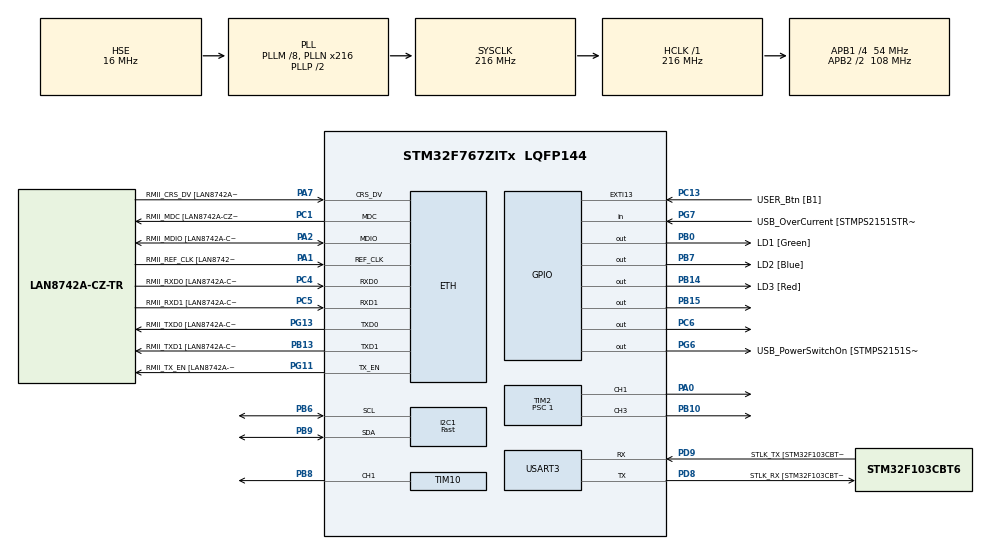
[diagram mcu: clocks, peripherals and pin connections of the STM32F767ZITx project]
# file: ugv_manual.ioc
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CORTEX_M7.AccessPermission-Cortex_Memory_Protection_Unit_Region0_Settings=MPU_REGION_FULL_ACCESS
CORTEX_M7.BaseAddress-Cortex_Memory_Protection_Unit_Region0_Settings=0x2007c000
CORTEX_M7.CPU_DCache=Enabled
CORTEX_M7.CPU_ICache=Enabled
CORTEX_M7.DisableExec-Cortex_Memory_Protection_Unit_Region0_Settings=MPU_INSTRUCTION_ACCESS_DISABLE
CORTEX_M7.Enable-Cortex_Memory_Protection_Unit_Region0_Settings=MPU_REGION_ENABLE
CORTEX_M7.IsShareable-Cortex_Memory_Protection_Unit_Region0_Settings=MPU_ACCESS_SHAREABLE
CORTEX_M7.MPU_Control=MPU_PRIVILEGED_DEFAULT
CORTEX_M7.PREFETCH_ENABLE=1
CORTEX_M7.Size-Cortex_Memory_Protection_Unit_Region0_Settings=MPU_REGION_SIZE_16KB
CORTEX_M7.TypeExtField-Cortex_Memory_Protection_Unit_Region0_Settings=MPU_TEX_LEVEL1
ETH.MACAddr=00\:80\:E1\:00\:00\:20
ETH.MediaInterface=HAL_ETH_RMII_MODE
I2C1.I2C_Speed_Mode=I2C_Fast
I2C1.Timing=0x6000030D
LWIP.BSP.number=1
LWIP.GATEWAY_ADDRESS=192.168.020.001
LWIP.IP_ADDRESS=192.168.020.021
LWIP.LWIP_DHCP=0
LWIP.MEM_SIZE=10*1024
LWIP.NETMASK_ADDRESS=255.255.255.000
LWIP.Version=v2.1.2_Cube
LWIP0.BSP.STBoard=false
LWIP0.BSP.api=BSP_COMPONENT_DRIVER
LWIP0.BSP.component=LAN8742
LWIP0.BSP.instance=LAN8742
LWIP0.BSP.name=Driver_PHY
LWIP0.BSP.semaphore=S_LAN8742
LWIP0.BSP.solution=LAN8742
Mcu.Family=STM32F7
Mcu.Name=STM32F767ZITx
Mcu.Package=LQFP144
NVIC.ETH_IRQn=true\:0\:0\:false\:false\:true\:true\:true\:true
NVIC.I2C1_ER_IRQn=true\:0\:0\:false\:false\:true\:true\:true\:true
NVIC.I2C1_EV_IRQn=true\:0\:0\:false\:false\:true\:true\:true\:true
NVIC.PriorityGroup=NVIC_PRIORITYGROUP_4
NVIC.TIM1_BRK_TIM9_IRQn=true\:0\:0\:false\:false\:true\:true\:true\:true
NVIC.TIM1_UP_TIM10_IRQn=true\:0\:0\:false\:false\:true\:true\:true\:true
NVIC.TIM8_UP_TIM13_IRQn=true\:0\:0\:false\:false\:true\:true\:true\:true
PA0/WKUP.Signal=S_TIM2_CH1_ETR
PA1.GPIO_Label=RMII_REF_CLK [LAN8742A-CZ-TR_REFCLK0]
PA1.Mode=RMII
PA1.Signal=ETH_REF_CLK
PA10.GPIO_Label=USB_ID
PA10.Signal=USB_OTG_FS_ID
PA11.GPIO_Label=USB_DM
PA11.Signal=USB_OTG_FS_DM
PA12.GPIO_Label=USB_DP
PA12.Signal=USB_OTG_FS_DP
PA13.GPIO_Label=TMS
PA13.Signal=SYS_JTMS-SWDIO
PA14.GPIO_Label=TCK
PA14.Signal=SYS_JTCK-SWCLK
PA2.GPIO_Label=RMII_MDIO [LAN8742A-CZ-TR_MDIO]
PA2.Mode=RMII
PA2.Signal=ETH_MDIO
PA7.GPIO_Label=RMII_CRS_DV [LAN8742A-CZ-TR_CRS_DV]
PA7.Mode=RMII
PA7.Signal=ETH_CRS_DV
PA8.GPIO_Label=USB_SOF [TP1]
PA8.Signal=USB_OTG_FS_SOF
PA9.GPIO_Label=USB_VBUS
PA9.Signal=USB_OTG_FS_VBUS
PB0.GPIO_Label=LD1 [Green]
PB0.Signal=GPIO_Output
PB10.Signal=S_TIM2_CH3
PB13.GPIO_Label=RMII_TXD1 [LAN8742A-CZ-TR_TXD1]
PB13.Mode=RMII
PB13.Signal=ETH_TXD1
PB14.GPIO_Label=LD3 [Red]
PB14.Signal=GPIO_Output
PB15.Signal=GPIO_Output
PB3.GPIO_Label=SW0
PB3.Signal=SYS_JTDO-SWO
PB6.GPIO_Pu=GPIO_PULLUP
PB6.Mode=I2C
PB6.Signal=I2C1_SCL
PB7.GPIO_Label=LD2 [Blue]
PB7.Signal=GPIO_Output
PB8.Signal=S_TIM10_CH1
PB9.GPIO_Pu=GPIO_PULLUP
PB9.Mode=I2C
PB9.Signal=I2C1_SDA
PC1.GPIO_Label=RMII_MDC [LAN8742A-CZ-TR_MDC]
PC1.Mode=RMII
PC1.Signal=ETH_MDC
PC13.GPIO_Label=USER_Btn [B1]
PC13.Signal=GPXTI13
PC14/OSC32_IN.Signal=RCC_OSC32_IN
PC15/OSC32_OUT.Signal=RCC_OSC32_OUT
PC4.GPIO_Label=RMII_RXD0 [LAN8742A-CZ-TR_RXD0]
PC4.Mode=RMII
PC4.Signal=ETH_RXD0
PC5.GPIO_Label=RMII_RXD1 [LAN8742A-CZ-TR_RXD1]
PC5.Mode=RMII
PC5.Signal=ETH_RXD1
PC6.Signal=GPIO_Output
PD8.GPIO_Label=STLK_RX [STM32F103CBT6_PA3]
PD8.Mode=Asynchronous
PD8.Signal=USART3_TX
PD9.GPIO_Label=STLK_TX [STM32F103CBT6_PA2]
PD9.Mode=Asynchronous
PD9.Signal=USART3_RX
PG11.GPIO_Label=RMII_TX_EN [LAN8742A-CZ-TR_TXEN]
PG11.Mode=RMII
PG11.Signal=ETH_TX_EN
PG13.GPIO_Label=RMII_TXD0 [LAN8742A-CZ-TR_TXD0]
PG13.Mode=RMII
PG13.Signal=ETH_TXD0
PG6.GPIO_Label=USB_PowerSwitchOn [STMPS2151STR_EN]
PG6.Signal=GPIO_Output
PG7.GPIO_Label=USB_OverCurrent [STMPS2151STR_FAULT]
PG7.Signal=GPIO_Input
PH0/OSC_IN.GPIO_Label=MCO [STM32F103CBT6_PA8]
PH0/OSC_IN.Mode=HSE-External-Oscillator
PH0/OSC_IN.Signal=RCC_OSC_IN
PH1/OSC_OUT.Mode=HSE-External-Oscillator
PH1/OSC_OUT.Signal=RCC_OSC_OUT
ProjectManager.HeapSize=0x200
ProjectManager.StackSize=0x400
ProjectManager.TargetToolchain=STM32CubeIDE
RCC.48MHZClocksFreq_Value=24000000
RCC.AHBFreq_Value=216000000
RCC.APB1CLKDivider=RCC_HCLK_DIV4
RCC.APB1Freq_Value=54000000
RCC.APB1TimFreq_Value=108000000
RCC.APB2CLKDivider=RCC_HCLK_DIV2
RCC.APB2Freq_Value=108000000
RCC.APB2TimFreq_Value=216000000
RCC.CortexFreq_Value=216000000
RCC.HCLKFreq_Value=216000000
RCC.HSE_VALUE=16000000
RCC.HSI_VALUE=16000000
RCC.LSE_VALUE=32768
RCC.PLLM=8
RCC.PLLMUL=RCC_PLL_MUL9
RCC.PLLN=216
RCC.PLLSourceVirtual=RCC_PLLSOURCE_HSE
RCC.PRESCALERUSB=RCC_USBCLKSOURCE_PLL_DIV1_5
RCC.SYSCLKFreq_VALUE=216000000
RCC.SYSCLKSource=RCC_SYSCLKSOURCE_PLLCLK
RCC.SYSCLKSourceVirtual=RCC_SYSCLKSOURCE_PLLCLK
RCC.USBFreq_Value=216000000
RCC.VCOOutputFreq_Value=432000000
SH.S_TIM10_CH1.0=TIM10_CH1,PWM Generation1 CH1
SH.S_TIM2_CH1_ETR.0=TIM2_CH1,PWM Generation1 CH1
SH.S_TIM2_CH3.0=TIM2_CH3,PWM Generation3 CH3
TIM1.Period=10000
TIM1.Prescaler=10800
TIM10.AutoReloadPreload=TIM_AUTORELOAD_PRELOAD_ENABLE
TIM10.Channel=TIM_CHANNEL_1
TIM10.Period=29999
TIM10.Prescaler=71
TIM13.Period=499
TIM13.Prescaler=2700
TIM2.Channel-PWM\ Generation1\ CH1=TIM_CHANNEL_1
TIM2.Channel-PWM\ Generation3\ CH3=TIM_CHANNEL_3
TIM2.Period=32767
TIM2.Prescaler=1
USART3.VirtualMode-Asynchronous=VM_ASYNC
VP_LWIP_VS_Enabled.Mode=Enabled
VP_TIM10_VS_ClockSourceINT.Mode=Enable_Timer
VP_TIM13_VS_ClockSourceINT.Mode=Enable_Timer
VP_TIM1_VS_ClockSourceINT.Mode=Internal
board=NUCLEO-F767ZI

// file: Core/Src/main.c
/* USER CODE BEGIN Header */
/**
  ******************************************************************************
  * @file           : main.c
  * @brief          : Main program body
  ******************************************************************************
  * @attention
  *
  * Copyright (c) 2024 STMicroelectronics.
  * All rights reserved.
  *
  * This software is licensed under terms that can be found in the LICENSE file
  * in the root directory of this software component.
  * If no LICENSE file comes with this software, it is provided AS-IS.
  *
  ******************************************************************************
  */
/* USER CODE END Header */
#include "main.h"
#include "lwip.h"

/* USER CODE BEGIN Includes */
#include "lwip/pbuf.h"
#include "lwip/udp.h"
#include "lwip/tcp.h"

#include "stdio.h"
#include "string.h"

#include "ugv_servo.h"  //Include header for servo driver
#include "motor_control.h" // Motor Control Header for 2023 Driver
#include "F7_I2C_Master.h"

/* USER CODE END Includes */

/* USER CODE BEGIN PD */
#define MAX_DUTY 32767

/* USER CODE END PD */

I2C_HandleTypeDef hi2c1;

TIM_HandleTypeDef htim1;
TIM_HandleTypeDef htim2;
TIM_HandleTypeDef htim10;
TIM_HandleTypeDef htim13;

UART_HandleTypeDef huart3;

/* USER CODE BEGIN PV */

F7_I2C_Master F7_i2c_master;

// instantiate steering servo struct
ugvServo_t steeringServo;
MotorControl ugv_drive_mtr;
// Variable to control steering angle
float steer_val = 0;
float velocity_val = 0;
float heading_error = 0;

// Temporary vars for Payload Arm Control
int8_t arm_cmds[5];

extern struct netif gnetif;
struct udp_pcb *upcb;
char buffer[100];
int counter;

/* USER CODE END PV */

void SystemClock_Config(void);
static void MPU_Config(void);
static void MX_GPIO_Init(void);
static void MX_TIM1_Init(void);
static void MX_TIM10_Init(void);
static void MX_USART3_UART_Init(void);
static void MX_TIM2_Init(void);
static void MX_TIM13_Init(void);
static void MX_I2C1_Init(void);
/* USER CODE BEGIN PFP */

void udp_receive_callback(void *arg, struct udp_pcb *upcb, struct pbuf *p,
		const ip_addr_t *addr, u16_t port);
static void udp_client_send();

void udp_client_connect();

void HAL_TIM_PeriodElapsedCallback(TIM_HandleTypeDef *htim);

/* USER CODE END PFP */

int main(void)
{

  /* MPU Configuration--------------------------------------------------------*/
  MPU_Config();
/* Enable the CPU Cache */

  /* Enable I-Cache---------------------------------------------------------*/
  SCB_EnableICache();

  /* Enable D-Cache---------------------------------------------------------*/
  SCB_EnableDCache();

  /* MCU Configuration--------------------------------------------------------*/

  /* Reset of all peripherals, Initializes the Flash interface and the Systick. */
  HAL_Init();

  /* Configure the system clock */
  SystemClock_Config();

  /* Initialize all configured peripherals */
  MX_GPIO_Init();
  MX_LWIP_Init();
  MX_TIM1_Init();
  MX_TIM10_Init();
  MX_USART3_UART_Init();
  MX_TIM2_Init();
  MX_TIM13_Init();
  MX_I2C1_Init();
  /* USER CODE BEGIN 2 */

  // 2022 Servo Driver
	steeringServo.timerInstance = &htim10;
	steeringServo.timerCCRX = &TIM10->CCR1;
	steeringServo.timerCh = TIM_CHANNEL_1;

	/* Last Year's Steering Servo */
	/*
	steeringServo.timerARR = 59999;
	steeringServo.minPulse = 500;
	steeringServo.maxPulse = 2500;
	steeringServo.timerPeriod = 20000;
	steeringServo.travelAngle = 270.0;
	steeringServo.minLimit = 10.0;
	steeringServo.maxLimit = 260.0;
	//	steeringServo.travelOffset = 125.0;
	//	steeringServo.travelOffset = 50;
	steeringServo.travelOffset = 10;
	*/

	// 2022 Servo Driver
	  steeringServo.timerInstance = &htim10;
	  steeringServo.timerCCRX = &TIM10->CCR1;
	  steeringServo.timerCh = TIM_CHANNEL_1;
	  steeringServo.timerARR = htim10.Init.Period;
	  steeringServo.minPulse = 500;
	  steeringServo.maxPulse = 2500;
	  steeringServo.timerPeriod = 20000;
	  steeringServo.travelAngle = 270.0;

	  steeringServo.minLimit = 0.0;
	  steeringServo.maxLimit = 105.0;

	  steeringServo.travelOffset = 50;

	ugv_servoInitServo(&steeringServo);
	MotorControl_Init(&ugv_drive_mtr, &htim2, TIM_CHANNEL_1, TIM_CHANNEL_3);
	ugv_init_F7_Master(&F7_i2c_master, &hi2c1, I2C_BUFF_SIZE, F3_SLAVE_ADDRESS, L4_SLAVE_ADDRESS);

  udp_client_connect();

  /* Start HAL timer interrupt
  /  Interrupt occurs once every 50ms
  */
  //COMMENTED OUT TIMER UPDATE
  HAL_TIM_Base_Start_IT(&htim13);

  /* USER CODE END 2 */

  /* Infinite loop */
  /* USER CODE BEGIN WHILE */
  while (1)
  {

	  ethernetif_input(&gnetif);
	  ethernet_link_check_state(&gnetif);
	  //udpClient
//	  gnetif.input()
	  //ethernet_input(p, netif)
	  sys_check_timeouts();

	HAL_GPIO_TogglePin(GPIOB, GPIO_PIN_14);
//	F7_i2c_master.buffSize = sprintf((char *)F7_i2c_master.TxBuffer, "%d, %d, %d", arm_cmds[0], arm_cmds[1], 0); //Temporarily hard-coding buffer size
//	HAL_I2C_Master_Transmit_IT(F7_i2c_master.I2C_Handle, (MASTER_W(F3_SLAVE_ADDRESS)), (uint8_t *)F7_i2c_master.TxBuffer, F7_i2c_master.buffSize);
    /* USER CODE END WHILE */

  }
}

void SystemClock_Config(void)
{
  RCC_OscInitTypeDef RCC_OscInitStruct = {0};
  RCC_ClkInitTypeDef RCC_ClkInitStruct = {0};

  /** Configure the main internal regulator output voltage
  */
  __HAL_RCC_PWR_CLK_ENABLE();
  __HAL_PWR_VOLTAGESCALING_CONFIG(PWR_REGULATOR_VOLTAGE_SCALE1);

  /** Initializes the RCC Oscillators according to the specified parameters
  * in the RCC_OscInitTypeDef structure.
  */
  RCC_OscInitStruct.OscillatorType = RCC_OSCILLATORTYPE_HSE;
  RCC_OscInitStruct.HSEState = RCC_HSE_ON;
  RCC_OscInitStruct.PLL.PLLState = RCC_PLL_ON;
  RCC_OscInitStruct.PLL.PLLSource = RCC_PLLSOURCE_HSE;
  RCC_OscInitStruct.PLL.PLLM = 8;
  RCC_OscInitStruct.PLL.PLLN = 216;
  RCC_OscInitStruct.PLL.PLLP = RCC_PLLP_DIV2;
  RCC_OscInitStruct.PLL.PLLQ = 2;
  RCC_OscInitStruct.PLL.PLLR = 2;
  if (HAL_RCC_OscConfig(&RCC_OscInitStruct) != HAL_OK)
  {
    Error_Handler();
  }

  /** Activate the Over-Drive mode
  */
  if (HAL_PWREx_EnableOverDrive() != HAL_OK)
  {
    Error_Handler();
  }

  /** Initializes the CPU, AHB and APB buses clocks
  */
  RCC_ClkInitStruct.ClockType = RCC_CLOCKTYPE_HCLK|RCC_CLOCKTYPE_SYSCLK
                              |RCC_CLOCKTYPE_PCLK1|RCC_CLOCKTYPE_PCLK2;
  RCC_ClkInitStruct.SYSCLKSource = RCC_SYSCLKSOURCE_PLLCLK;
  RCC_ClkInitStruct.AHBCLKDivider = RCC_SYSCLK_DIV1;
  RCC_ClkInitStruct.APB1CLKDivider = RCC_HCLK_DIV4;
  RCC_ClkInitStruct.APB2CLKDivider = RCC_HCLK_DIV2;

  if (HAL_RCC_ClockConfig(&RCC_ClkInitStruct, FLASH_LATENCY_7) != HAL_OK)
  {
    Error_Handler();
  }
}

static void MX_I2C1_Init(void)
{

  hi2c1.Instance = I2C1;
  hi2c1.Init.Timing = 0x6000030D;
  hi2c1.Init.OwnAddress1 = 0;
  hi2c1.Init.AddressingMode = I2C_ADDRESSINGMODE_7BIT;
  hi2c1.Init.DualAddressMode = I2C_DUALADDRESS_DISABLE;
  hi2c1.Init.OwnAddress2 = 0;
  hi2c1.Init.OwnAddress2Masks = I2C_OA2_NOMASK;
  hi2c1.Init.GeneralCallMode = I2C_GENERALCALL_DISABLE;
  hi2c1.Init.NoStretchMode = I2C_NOSTRETCH_DISABLE;
  if (HAL_I2C_Init(&hi2c1) != HAL_OK)
  {
    Error_Handler();
  }

  /** Configure Analogue filter
  */
  if (HAL_I2CEx_ConfigAnalogFilter(&hi2c1, I2C_ANALOGFILTER_ENABLE) != HAL_OK)
  {
    Error_Handler();
  }

  /** Configure Digital filter
  */
  if (HAL_I2CEx_ConfigDigitalFilter(&hi2c1, 0) != HAL_OK)
  {
    Error_Handler();
  }

}

static void MX_TIM1_Init(void)
{

  TIM_ClockConfigTypeDef sClockSourceConfig = {0};
  TIM_MasterConfigTypeDef sMasterConfig = {0};

  htim1.Instance = TIM1;
  htim1.Init.Prescaler = 10800;
  htim1.Init.CounterMode = TIM_COUNTERMODE_UP;
  htim1.Init.Period = 10000;
  htim1.Init.ClockDivision = TIM_CLOCKDIVISION_DIV1;
  htim1.Init.RepetitionCounter = 0;
  htim1.Init.AutoReloadPreload = TIM_AUTORELOAD_PRELOAD_DISABLE;
  if (HAL_TIM_Base_Init(&htim1) != HAL_OK)
  {
    Error_Handler();
  }
  sClockSourceConfig.ClockSource = TIM_CLOCKSOURCE_INTERNAL;
  if (HAL_TIM_ConfigClockSource(&htim1, &sClockSourceConfig) != HAL_OK)
  {
    Error_Handler();
  }
  sMasterConfig.MasterOutputTrigger = TIM_TRGO_RESET;
  sMasterConfig.MasterOutputTrigger2 = TIM_TRGO2_RESET;
  sMasterConfig.MasterSlaveMode = TIM_MASTERSLAVEMODE_DISABLE;
  if (HAL_TIMEx_MasterConfigSynchronization(&htim1, &sMasterConfig) != HAL_OK)
  {
    Error_Handler();
  }

}

static void MX_TIM2_Init(void)
{

  TIM_MasterConfigTypeDef sMasterConfig = {0};
  TIM_OC_InitTypeDef sConfigOC = {0};

  htim2.Instance = TIM2;
  htim2.Init.Prescaler = 1;
  htim2.Init.CounterMode = TIM_COUNTERMODE_UP;
  htim2.Init.Period = 32767;
  htim2.Init.ClockDivision = TIM_CLOCKDIVISION_DIV1;
  htim2.Init.AutoReloadPreload = TIM_AUTORELOAD_PRELOAD_DISABLE;
  if (HAL_TIM_PWM_Init(&htim2) != HAL_OK)
  {
    Error_Handler();
  }
  sMasterConfig.MasterOutputTrigger = TIM_TRGO_RESET;
  sMasterConfig.MasterSlaveMode = TIM_MASTERSLAVEMODE_DISABLE;
  if (HAL_TIMEx_MasterConfigSynchronization(&htim2, &sMasterConfig) != HAL_OK)
  {
    Error_Handler();
  }
  sConfigOC.OCMode = TIM_OCMODE_PWM1;
  sConfigOC.Pulse = 0;
  sConfigOC.OCPolarity = TIM_OCPOLARITY_HIGH;
  sConfigOC.OCFastMode = TIM_OCFAST_DISABLE;
  if (HAL_TIM_PWM_ConfigChannel(&htim2, &sConfigOC, TIM_CHANNEL_1) != HAL_OK)
  {
    Error_Handler();
  }
  if (HAL_TIM_PWM_ConfigChannel(&htim2, &sConfigOC, TIM_CHANNEL_3) != HAL_OK)
  {
    Error_Handler();
  }
  HAL_TIM_MspPostInit(&htim2);

}

static void MX_TIM10_Init(void)
{

  TIM_OC_InitTypeDef sConfigOC = {0};

  htim10.Instance = TIM10;
  htim10.Init.Prescaler = 71;
  htim10.Init.CounterMode = TIM_COUNTERMODE_UP;
  htim10.Init.Period = 29999;
  htim10.Init.ClockDivision = TIM_CLOCKDIVISION_DIV1;
  htim10.Init.AutoReloadPreload = TIM_AUTORELOAD_PRELOAD_ENABLE;
  if (HAL_TIM_Base_Init(&htim10) != HAL_OK)
  {
    Error_Handler();
  }
  if (HAL_TIM_PWM_Init(&htim10) != HAL_OK)
  {
    Error_Handler();
  }
  sConfigOC.OCMode = TIM_OCMODE_PWM1;
  sConfigOC.Pulse = 0;
  sConfigOC.OCPolarity = TIM_OCPOLARITY_HIGH;
  sConfigOC.OCFastMode = TIM_OCFAST_DISABLE;
  if (HAL_TIM_PWM_ConfigChannel(&htim10, &sConfigOC, TIM_CHANNEL_1) != HAL_OK)
  {
    Error_Handler();
  }
  HAL_TIM_MspPostInit(&htim10);

}

static void MX_TIM13_Init(void)
{

  htim13.Instance = TIM13;
  htim13.Init.Prescaler = 2700;
  htim13.Init.CounterMode = TIM_COUNTERMODE_UP;
  htim13.Init.Period = 499;
  htim13.Init.ClockDivision = TIM_CLOCKDIVISION_DIV1;
  htim13.Init.AutoReloadPreload = TIM_AUTORELOAD_PRELOAD_DISABLE;
  if (HAL_TIM_Base_Init(&htim13) != HAL_OK)
  {
    Error_Handler();
  }

}

static void MX_USART3_UART_Init(void)
{

  huart3.Instance = USART3;
  huart3.Init.BaudRate = 115200;
  huart3.Init.WordLength = UART_WORDLENGTH_8B;
  huart3.Init.StopBits = UART_STOPBITS_1;
  huart3.Init.Parity = UART_PARITY_NONE;
  huart3.Init.Mode = UART_MODE_TX_RX;
  huart3.Init.HwFlowCtl = UART_HWCONTROL_NONE;
  huart3.Init.OverSampling = UART_OVERSAMPLING_16;
  huart3.Init.OneBitSampling = UART_ONE_BIT_SAMPLE_DISABLE;
  huart3.AdvancedInit.AdvFeatureInit = UART_ADVFEATURE_NO_INIT;
  if (HAL_UART_Init(&huart3) != HAL_OK)
  {
    Error_Handler();
  }

}

static void MX_GPIO_Init(void)
{
  GPIO_InitTypeDef GPIO_InitStruct = {0};

  /* GPIO Ports Clock Enable */
  __HAL_RCC_GPIOC_CLK_ENABLE();
  __HAL_RCC_GPIOH_CLK_ENABLE();
  __HAL_RCC_GPIOA_CLK_ENABLE();
  __HAL_RCC_GPIOB_CLK_ENABLE();
  __HAL_RCC_GPIOD_CLK_ENABLE();
  __HAL_RCC_GPIOG_CLK_ENABLE();

  /*Configure GPIO pin Output Level */
  HAL_GPIO_WritePin(GPIOB, LD1_Pin|LD3_Pin|GPIO_PIN_15|LD2_Pin, GPIO_PIN_RESET);

  /*Configure GPIO pin Output Level */
  HAL_GPIO_WritePin(USB_PowerSwitchOn_GPIO_Port, USB_PowerSwitchOn_Pin, GPIO_PIN_RESET);

  /*Configure GPIO pin Output Level */
  HAL_GPIO_WritePin(GPIOC, GPIO_PIN_6, GPIO_PIN_RESET);

  /*Configure GPIO pin : USER_Btn_Pin */
  GPIO_InitStruct.Pin = USER_Btn_Pin;
  GPIO_InitStruct.Mode = GPIO_MODE_IT_RISING;
  GPIO_InitStruct.Pull = GPIO_NOPULL;
  HAL_GPIO_Init(USER_Btn_GPIO_Port, &GPIO_InitStruct);

  /*Configure GPIO pins : LD1_Pin LD3_Pin PB15 LD2_Pin */
  GPIO_InitStruct.Pin = LD1_Pin|LD3_Pin|GPIO_PIN_15|LD2_Pin;
  GPIO_InitStruct.Mode = GPIO_MODE_OUTPUT_PP;
  GPIO_InitStruct.Pull = GPIO_NOPULL;
  GPIO_InitStruct.Speed = GPIO_SPEED_FREQ_LOW;
  HAL_GPIO_Init(GPIOB, &GPIO_InitStruct);

  /*Configure GPIO pin : USB_PowerSwitchOn_Pin */
  GPIO_InitStruct.Pin = USB_PowerSwitchOn_Pin;
  GPIO_InitStruct.Mode = GPIO_MODE_OUTPUT_PP;
  GPIO_InitStruct.Pull = GPIO_NOPULL;
  GPIO_InitStruct.Speed = GPIO_SPEED_FREQ_LOW;
  HAL_GPIO_Init(USB_PowerSwitchOn_GPIO_Port, &GPIO_InitStruct);

  /*Configure GPIO pin : USB_OverCurrent_Pin */
  GPIO_InitStruct.Pin = USB_OverCurrent_Pin;
  GPIO_InitStruct.Mode = GPIO_MODE_INPUT;
  GPIO_InitStruct.Pull = GPIO_NOPULL;
  HAL_GPIO_Init(USB_OverCurrent_GPIO_Port, &GPIO_InitStruct);

  /*Configure GPIO pin : PC6 */
  GPIO_InitStruct.Pin = GPIO_PIN_6;
  GPIO_InitStruct.Mode = GPIO_MODE_OUTPUT_PP;
  GPIO_InitStruct.Pull = GPIO_NOPULL;
  GPIO_InitStruct.Speed = GPIO_SPEED_FREQ_LOW;
  HAL_GPIO_Init(GPIOC, &GPIO_InitStruct);

  /*Configure GPIO pins : USB_SOF_Pin USB_ID_Pin USB_DM_Pin USB_DP_Pin */
  GPIO_InitStruct.Pin = USB_SOF_Pin|USB_ID_Pin|USB_DM_Pin|USB_DP_Pin;
  GPIO_InitStruct.Mode = GPIO_MODE_AF_PP;
  GPIO_InitStruct.Pull = GPIO_NOPULL;
  GPIO_InitStruct.Speed = GPIO_SPEED_FREQ_VERY_HIGH;
  GPIO_InitStruct.Alternate = GPIO_AF10_OTG_FS;
  HAL_GPIO_Init(GPIOA, &GPIO_InitStruct);

  /*Configure GPIO pin : USB_VBUS_Pin */
  GPIO_InitStruct.Pin = USB_VBUS_Pin;
  GPIO_InitStruct.Mode = GPIO_MODE_INPUT;
  GPIO_InitStruct.Pull = GPIO_NOPULL;
  HAL_GPIO_Init(USB_VBUS_GPIO_Port, &GPIO_InitStruct);

}

/* USER CODE BEGIN 4 */

/*
 * The timer callback is executing the heading control loop every T = $(50ms)
 *
 */

void HAL_TIM_PeriodElapsedCallback(TIM_HandleTypeDef *htim)
{
//	HAL_GPIO_TogglePin(GPIOB, GPIO_PIN_14);
//	F7_i2c_master.buffSize = sprintf((char *)F7_i2c_master.TxBuffer, "%d, %d, %d", 10, 20, 0); //Temporarily hard-coding buffer size
//	HAL_I2C_Master_Transmit_IT(F7_i2c_master.I2C_Handle, (MASTER_W(F3_SLAVE_ADDRESS)), (uint8_t *)F7_i2c_master.TxBuffer, F7_i2c_master.buffSize);

	MotorControl_SetSpeed(&ugv_drive_mtr, &htim2, velocity_val);
	ugv_servoSetAngle(&steeringServo, steeringServo.maxLimit *steer_val + 0.224*steeringServo.maxLimit);
}

void udp_client_connect()
{
	err_t err;

	// Create a new UDP control block
	// Need to check for null return
	upcb = udp_new();

	// Bind control block to module's IP address and port
	// Static IP address: 192.168.2.xxx
	ip_addr_t my_ip;
//	IP_ADDR4(&my_ip, 192, 168, 5, 21); 	//STM ip when connected to RPI 5
	IP_ADDR4(&my_ip, 192, 168, 20, 21); //STM ip when connected to Jetson Orin
//	IP_ADDR4(&my_ip, 192, 168, 2, 21); 	// STM ip when connected to linux desktop

	// Binds udp protocol control block to a local IP address
	// Arbitrary port # selection: 8
	udp_bind(upcb, &my_ip, 8);

	// Configure destination IP address
	// Host ip address: 192.168.2.5
	// Arbitrary port # selection: 12345
	ip_addr_t DestIPaddr;
//	IP_ADDR4(&DestIPaddr, 192, 168, 5, 5);  //RPI 5 host ip address
	IP_ADDR4(&DestIPaddr, 192, 168, 20, 5);  //Jetson Orin Nano host ip address
//	IP_ADDR4(&DestIPaddr, 192, 168, 2, 5);  //Desktop Host ip address
	err = udp_connect(upcb, &DestIPaddr, 12345);

	if (err == HAL_OK)
	{
		// Blue LED
		HAL_GPIO_TogglePin(GPIOB, GPIO_PIN_7);
		// Set a receive callback for the upcb when server sends data to client
		udp_recv(upcb, udp_receive_callback, NULL);

	}
}

static void udp_client_send()
{
	struct pbuf *tx_buff;
	char data[100];

	int len = sprintf(data, "Sending UDP client message: %d", counter);

	// Allocate pbuf from pool
	tx_buff = pbuf_alloc(PBUF_TRANSPORT, len, PBUF_RAM);

	if (tx_buff != NULL)
	{
		// Copy data into pbuf
		pbuf_take(tx_buff, data, len);

		// Send udp data
		udp_send(upcb, tx_buff);

		// Free pbuf
		pbuf_free(tx_buff);
	}
}

void udp_receive_callback(void *arg, struct udp_pcb *upcb, struct pbuf *p,
		const ip_addr_t *addr, u16_t port)
{
	// Copy data from the pbuf
	strncpy(buffer, (char *)p->payload, p->len);

	//Parse Input
	uint8_t data_index = 0;
	float drive_vals[10] = {0};
	char *buffer_data = strtok(buffer, ",");
	while (buffer_data != NULL && data_index < 10)
	{
		float conv_check = atof(buffer_data);
		//Make data was converted properly
		if (conv_check == 0)
		{
			HAL_GPIO_TogglePin(GPIOB, GPIO_PIN_14);
		}

		drive_vals[data_index] = conv_check;

		++data_index;
		buffer_data = strtok(NULL, ",");
	}

	// Free receive pbuf;
	pbuf_free(p);

	velocity_val = drive_vals[0];
	steer_val = drive_vals[1];

	//Temporary addition for payload arm acutation
	arm_cmds[0] = (int8_t)drive_vals[2];
	arm_cmds[1] = (int8_t)drive_vals[3];
	//heading_error = drive_vals[2]; //Receive Heading Error

	//Might need to reset drive_vals to 0
	// Set Steering Angle for Servo
//	ugv_servoSetAngle(&steeringServo, steeringServo.maxLimit *steer_val + 0.224*steeringServo.maxLimit);
//	//ugv_servoSetAngle(&steeringServo, drive_vals[1]);
//	MotorControl_SetSpeed(&ugv_drive_mtr, &htim2, velocity_val);
//	ugv_servoSetAngle(&steeringServo, steeringServo.maxLimit *steer_val + 0.224*steeringServo.maxLimit);
	HAL_GPIO_TogglePin(GPIOB, GPIO_PIN_0);
}

/* USER CODE END 4 */

/* MPU Configuration */

void MPU_Config(void)
{
  MPU_Region_InitTypeDef MPU_InitStruct = {0};

  /* Disables the MPU */
  HAL_MPU_Disable();

  /** Initializes and configures the Region and the memory to be protected
  */
  MPU_InitStruct.Enable = MPU_REGION_ENABLE;
  MPU_InitStruct.Number = MPU_REGION_NUMBER0;
  MPU_InitStruct.BaseAddress = 0x2007c000;
  MPU_InitStruct.Size = MPU_REGION_SIZE_16KB;
  MPU_InitStruct.SubRegionDisable = 0x0;
  MPU_InitStruct.TypeExtField = MPU_TEX_LEVEL1;
  MPU_InitStruct.AccessPermission = MPU_REGION_FULL_ACCESS;
  MPU_InitStruct.DisableExec = MPU_INSTRUCTION_ACCESS_DISABLE;
  MPU_InitStruct.IsShareable = MPU_ACCESS_SHAREABLE;
  MPU_InitStruct.IsCacheable = MPU_ACCESS_NOT_CACHEABLE;
  MPU_InitStruct.IsBufferable = MPU_ACCESS_NOT_BUFFERABLE;

  HAL_MPU_ConfigRegion(&MPU_InitStruct);
  /* Enables the MPU */
  HAL_MPU_Enable(MPU_PRIVILEGED_DEFAULT);

}

void Error_Handler(void)
{
  __disable_irq();
  while (1)
  {
  }
}
